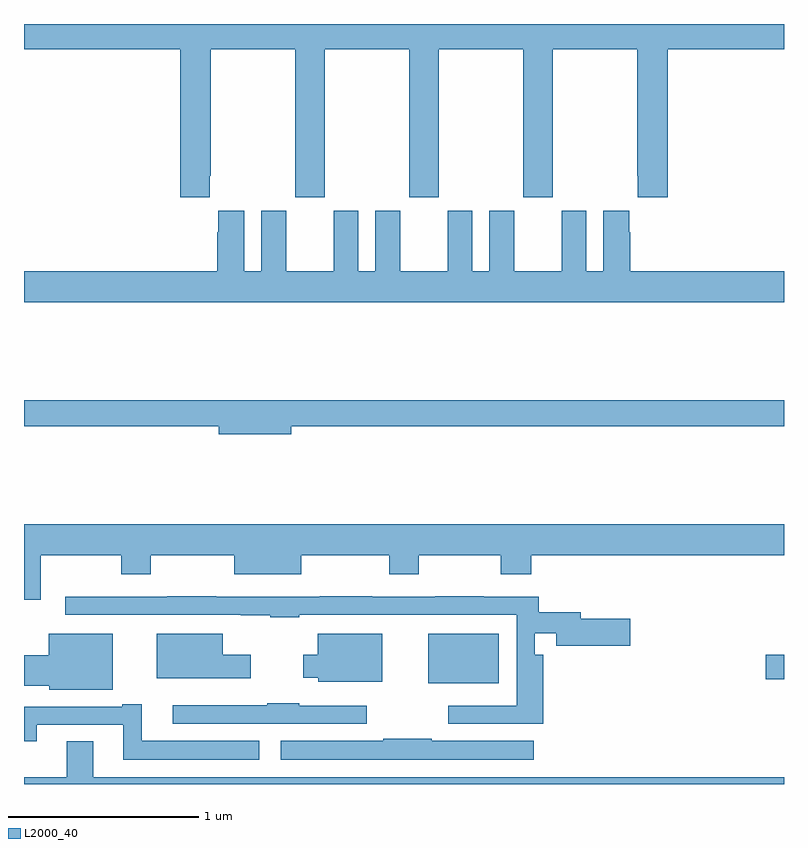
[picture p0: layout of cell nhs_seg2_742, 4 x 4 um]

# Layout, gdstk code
import gdstk
lib = gdstk.Library(unit=1e-6, precision=1e-09)
def R(c, l, rs):  # rectangles x0, y0, x1, y1
    for r in rs: c.add(gdstk.rectangle(r[:2], r[2:], *l))
def P(c, l, *ps):  # polygons
    for p in ps: c.add(gdstk.Polygon(p, *l))
L2000_40 = (2000, 40)

nhs_seg2_742 = lib.new_cell('nhs_seg2_742')
R(nhs_seg2_742, L2000_40, [(151.127,612.329,151.498,612.592), (152.904,612.352,153,612.481)])
P(nhs_seg2_742, L2000_40, [(149.977,615.001),(149.982,615.001),(149.982,615.668),(150.427,615.668),(150.427,614.889),(150.582,614.889),(150.582,615.668),(151.027,615.668),(151.027,614.889),(151.182,614.889),(151.182,615.668),(151.627,615.668),(151.627,614.889),(151.782,614.889),(151.782,615.668),(152.227,615.668),(152.227,615.001),(152.231,615.001),(152.231,614.889),(152.387,614.889),(152.387,615.668),(153,615.668),(153,615.8),(149,615.8),(149,615.668),(149.822,615.668),(149.822,614.889),(149.977,614.889)],
  [(151.229,614.818),(151.229,614.5),(150.979,614.5),(150.979,614.818),(150.848,614.818),(150.848,614.5),(150.76,614.5),(150.76,614.818),(150.629,614.818),(150.629,614.5),(150.379,614.5),(150.379,614.818),(150.248,614.818),(150.248,614.5),(150.16,614.5),(150.16,614.818),(150.023,614.818),(150.023,614.705),(150.017,614.705),(150.017,614.5),(149,614.5),(149,614.336),(153,614.336),(153,614.5),(152.192,614.5),(152.192,614.705),(152.185,614.705),(152.185,614.818),(152.048,614.818),(152.048,614.5),(151.96,614.5),(151.96,614.818),(151.829,614.818),(151.829,614.5),(151.579,614.5),(151.579,614.818),(151.448,614.818),(151.448,614.5),(151.36,614.5),(151.36,614.818)],
  [(150.406,613.684),(153,613.684),(153,613.82),(149,613.82),(149,613.684),(150.026,613.684),(150.026,613.642),(150.406,613.642)],
  [(149.089,613.004),(149.512,613.004),(149.512,612.905),(149.667,612.905),(149.667,613.004),(150.107,613.004),(150.107,612.905),(150.46,612.905),(150.46,613.004),(150.922,613.004),(150.922,612.905),(151.077,612.905),(151.077,613.004),(151.51,613.004),(151.51,612.905),(151.67,612.905),(151.67,613.004),(153,613.004),(153,613.168),(149,613.168),(149,612.771),(149.089,612.771)],
  [(151.733,612.481),(151.689,612.481),(151.689,612.594),(151.802,612.594),(151.802,612.527),(152.191,612.527),(152.191,612.669),(151.93,612.669),(151.93,612.703),(151.709,612.703),(151.709,612.786),(151.421,612.786),(151.421,612.788),(151.165,612.788),(151.165,612.786),(150.833,612.786),(150.833,612.788),(150.556,612.788),(150.556,612.786),(150.011,612.786),(150.011,612.788),(149.755,612.788),(149.755,612.786),(149.217,612.786),(149.217,612.69),(150.142,612.69),(150.142,612.689),(150.296,612.689),(150.296,612.678),(150.449,612.678),(150.449,612.69),(151.593,612.69),(151.593,612.213),(151.233,612.213),(151.233,612.117),(151.733,612.117)],
  [(149.467,612.592),(149.129,612.592),(149.129,612.477),(149,612.477),(149,612.317),(149.133,612.317),(149.133,612.296),(149.467,612.296)],
  [(150.193,612.481),(150.046,612.481),(150.046,612.592),(149.699,612.592),(149.699,612.356),(150.193,612.356)],
  [(150.886,612.592),(150.545,612.592),(150.545,612.481),(150.47,612.481),(150.47,612.359),(150.549,612.359),(150.549,612.338),(150.886,612.338)],
  [(150.805,612.213),(150.449,612.213),(150.449,612.226),(150.28,612.226),(150.28,612.214),(149.784,612.214),(149.784,612.117),(150.805,612.117)],
  [(150.238,612.028),(149.62,612.028),(149.62,612.22),(149.516,612.22),(149.516,612.207),(149,612.207),(149,612.024),(149.068,612.024),(149.068,612.111),(149.522,612.111),(149.522,611.927),(150.238,611.927)],
  [(151.684,612.028),(151.145,612.028),(151.145,612.038),(150.892,612.038),(150.892,612.028),(150.351,612.028),(150.351,611.927),(151.684,611.927)],
  [(153,611.836),(149.365,611.836),(149.365,612.026),(149.225,612.026),(149.225,611.836),(149,611.836),(149,611.8),(153,611.8)])

lib.write_gds('nhs_seg2_742.gds')
